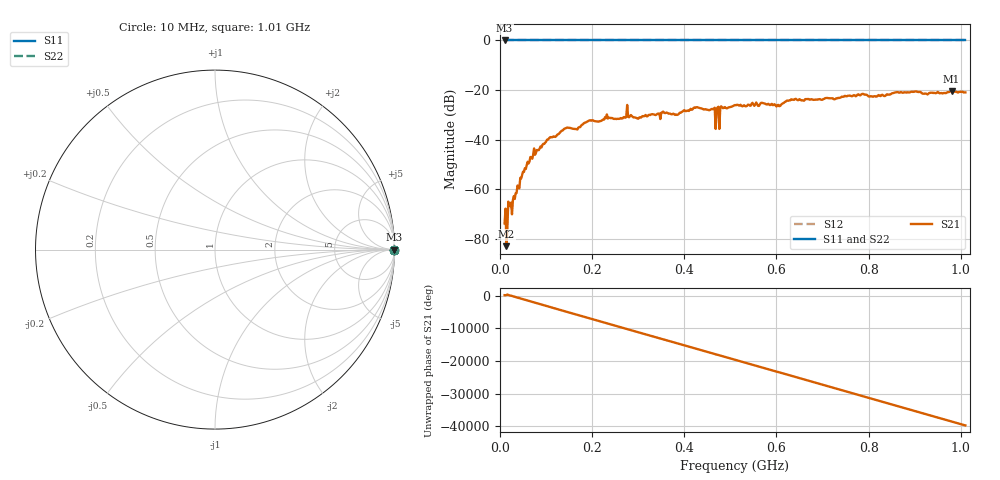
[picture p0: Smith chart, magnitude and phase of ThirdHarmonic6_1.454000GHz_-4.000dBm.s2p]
! 8/16/2025 4:52:11 PM
! C:\ANRITSUVNA\TEMP\TEMP.S2P
! CHANNEL.1
! TR.MEASUREMENT
! RAW.DATA
! RF.CORRECTION.OFF
! AVERAGING.OFF
! IF.BANDWIDTH: 5KHZ
! SWEEPTYPE:  FREQ.SWEEP(Linear)
! Reference Plane Port Info
! PORT:  PORT1  PORT2
! DISTANCE:  0  m  0  m
! TIME:  0  s  0  s
! PHASE.OFFSET:  0  deg.  0  deg.
! LOSS:  0  dB  0  dB
! REF.LOSS:  0  dB  0  dB
! REF.FREQ:  0  Hz  0  Hz
! Power Info
! POWER:  -20  dBm  -20  dBm
! EFF.POWER:  -20  dBm  -20  dBm
! SOURCE.ATTEN:  0  dB  0  dB
! TEST.ATTEN:  0  dB  0  dB
# GHZ S RI R 50.0
! FREQ.GHZ  S11RE  S11IM  S21RE  S21IM  S12RE  S12IM  S22RE  S22IM
!; PortSelection: Port_12
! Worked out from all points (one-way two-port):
!   501 points, 10 MHz to 1.01 GHz, reference 50 ohm
!   highest |S21| = -20.40 dB at 980 MHz (marker M1); lowest = -82.9 dB at 14 MHz (marker M2)
!   lowest |S11| = 0.0 dB at 10 MHz (marker M3)
!   |S11| at or under -10 dB: nowhere
!   |S22| runs from 0.0 to 0.0 dB; largest |S21 - S12| = 1.1
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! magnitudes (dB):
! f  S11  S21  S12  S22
! 10 MHz  0.0  -73.7  0.0  0.0
! 14 MHz  0.0  -82.9  0.0  0.0
! 22 MHz  0.0  -66.7  0.0  0.0
! 30 MHz  0.0  -62.7  0.0  0.0
! 48 MHz  0.0  -54.3  0.0  0.0
! 70 MHz  0.0  -47.6  0.0  0.0
! 142 MHz  0.0  -35.4  0.0  0.0
! 178 MHz  0.0  -34.0  0.0  0.0
! 280 MHz  0.0  -30.9  0.0  0.0
! 298 MHz  0.0  -31.4  0.0  0.0
! 344 MHz  0.0  -29.6  0.0  0.0
! 426 MHz  0.0  -26.9  0.0  0.0
! 462 MHz  0.0  -27.7  0.0  0.0
! 472 MHz  0.0  -27.0  0.0  0.0
! 482 MHz  0.0  -26.9  0.0  0.0
! 510 MHz  0.0  -26.0  0.0  0.0
! 604 MHz  0.0  -25.9  0.0  0.0
! 636 MHz  0.0  -23.9  0.0  0.0
! 678 MHz  0.0  -23.8  0.0  0.0
! 844 MHz  0.0  -21.8  0.0  0.0
! 980 MHz  0.0  -20.4  0.0  0.0
! 1.01 GHz  0.0  -20.9  0.0  0.0
